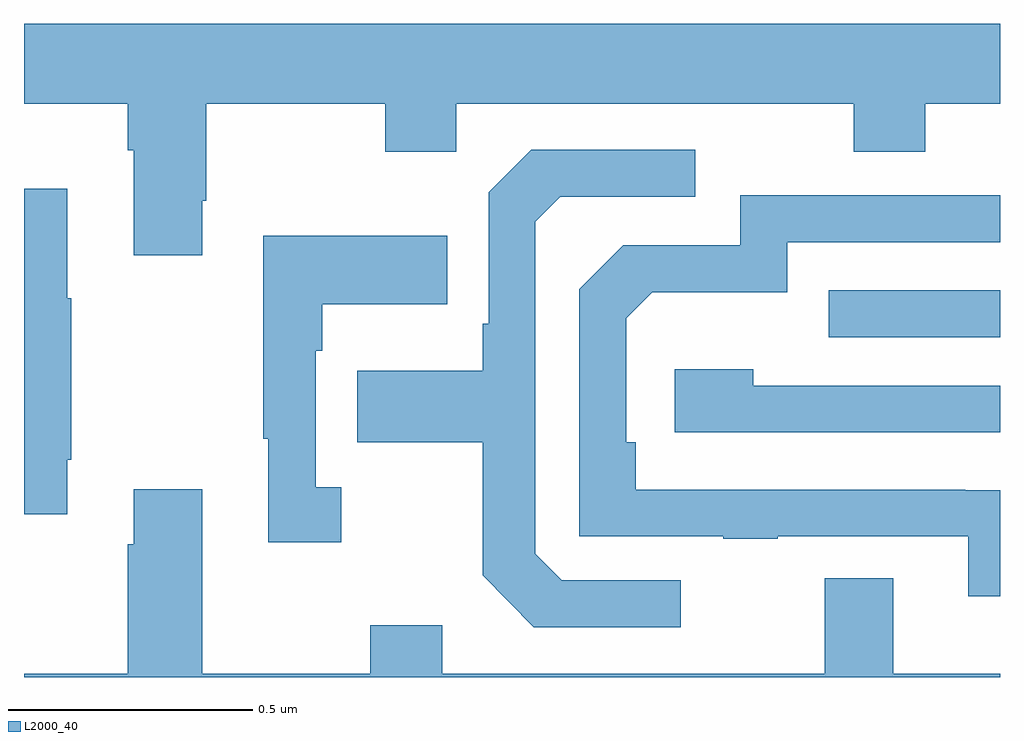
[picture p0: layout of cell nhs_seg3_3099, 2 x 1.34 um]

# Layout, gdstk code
import gdstk
lib = gdstk.Library(unit=1e-6, precision=1e-09)
def R(c, l, rs):  # rectangles x0, y0, x1, y1
    for r in rs: c.add(gdstk.rectangle(r[:2], r[2:], *l))
def P(c, l, *ps):  # polygons
    for p in ps: c.add(gdstk.Polygon(p, *l))
L2000_40 = (2000, 40)

nhs_seg3_3099 = lib.new_cell('nhs_seg3_3099')
R(nhs_seg3_3099, L2000_40, [(150.649,707.097,151,707.193)])
P(nhs_seg3_3099, L2000_40, [(149.365,707.377),(149.373,707.377),(149.373,707.576),(149.74,707.576),(149.74,707.477),(149.886,707.477),(149.886,707.576),(150.7,707.576),(150.7,707.477),(150.847,707.477),(150.847,707.576),(151,707.576),(151,707.74),(149,707.74),(149,707.576),(149.213,707.576),(149.213,707.48),(149.225,707.48),(149.225,707.265),(149.365,707.265)],
  [(150.346,706.599),(150.102,706.599),(150.048,706.653),(150.048,707.334),(150.099,707.385),(150.376,707.385),(150.376,707.481),(150.039,707.481),(149.952,707.394),(149.952,707.125),(149.94,707.125),(149.94,707.029),(149.683,707.029),(149.683,706.882),(149.94,706.882),(149.94,706.609),(150.045,706.503),(150.346,706.503)],
  [(149.089,706.846),(149.097,706.846),(149.097,707.177),(149.089,707.177),(149.089,707.401),(149,707.401),(149,706.734),(149.089,706.734)],
  [(151,706.784),(150.929,706.784),(150.929,706.785),(150.254,706.785),(150.254,706.882),(150.234,706.882),(150.234,707.136),(150.287,707.189),(150.564,707.189),(150.564,707.292),(151,707.292),(151,707.388),(150.468,707.388),(150.468,707.286),(150.228,707.286),(150.138,707.196),(150.138,706.689),(150.433,706.689),(150.433,706.684),(150.545,706.684),(150.545,706.689),(150.935,706.689),(150.935,706.566),(151,706.566)],
  [(149.65,706.79),(149.598,706.79),(149.598,707.069),(149.611,707.069),(149.611,707.165),(149.867,707.165),(149.867,707.305),(149.49,707.305),(149.49,706.889),(149.501,706.889),(149.501,706.677),(149.65,706.677)],
  [(151,706.998),(150.494,706.998),(150.494,707.032),(150.333,707.032),(150.333,706.902),(151,706.902)],
  [(151,706.408),(150.781,706.408),(150.781,706.603),(150.641,706.603),(150.641,706.408),(149.857,706.408),(149.857,706.507),(149.71,706.507),(149.71,706.408),(149.365,706.408),(149.365,706.786),(149.225,706.786),(149.225,706.673),(149.213,706.673),(149.213,706.408),(149,706.408),(149,706.4),(151,706.4)])

lib.write_gds('nhs_seg3_3099.gds')
